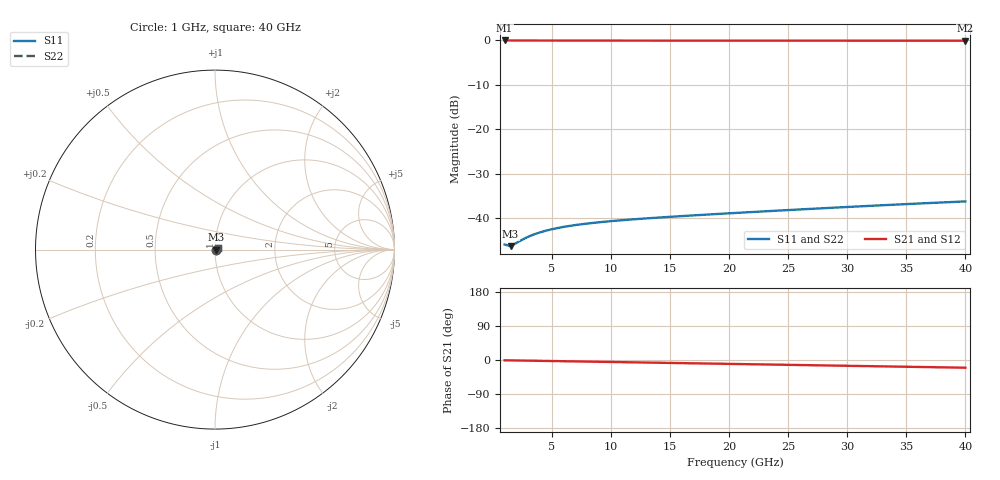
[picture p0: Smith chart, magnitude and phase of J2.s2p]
! Created with skrf 1.13.0 (http://scikit-rf.org).
# Hz S RI R 50.0
! Port[1] = p1
! Port[2] = p2
!freq ReS11 ImS11 ReS21 ImS21 ReS12 ImS12 ReS22 ImS22
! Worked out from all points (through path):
!   79 points, 1 GHz to 40 GHz, reference 50 ohm
!   highest |S21| = -0.05 dB at 1 GHz (marker M1); lowest = -0.1 dB at 40 GHz (marker M2)
!   group delay of S21, straight-line fit = 1.4 ps
!   lowest |S11| = -46.3 dB at 1.5 GHz (marker M3), VSWR 1.01, Z = 50.5 - j0.0429 ohm
!   |S11| at or under -10 dB: start of sweep to end of sweep
!   |S22| runs from -46.3 to -36.2 dB; largest |S21 - S12| = 7.7e-07
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1e9  0.00449 -0.00235  0.9947 -0.0144  0.9947 -0.0144  0.00449 -0.00235
1.5e9  0.00484 -0.000425  0.9943 -0.0177  0.9943 -0.0177  0.00484 -0.000425
2e9  0.00525 0.000587  0.9938 -0.0216  0.9938 -0.0216  0.00525 0.000587
2.5e9  0.00564 0.00123  0.9933 -0.0258  0.9933 -0.0258  0.00564 0.00123
3e9  0.00598 0.00167  0.9929 -0.03  0.9929 -0.03  0.00598 0.00167
3.5e9  0.00629 0.002  0.9924 -0.0342  0.9924 -0.0342  0.00629 0.002
4e9  0.00658 0.00225  0.992 -0.0385  0.992 -0.0385  0.00658 0.00225
4.5e9  0.00683 0.00245  0.9916 -0.0428  0.9916 -0.0428  0.00683 0.00245
5e9  0.00706 0.00262  0.9912 -0.0471  0.9912 -0.0471  0.00706 0.00262
5.5e9  0.00728 0.00276  0.9908 -0.0513  0.9908 -0.0513  0.00728 0.00276
6e9  0.00747 0.00288  0.9904 -0.0556  0.9904 -0.0556  0.00747 0.00288
6.5e9  0.00765 0.00299  0.99 -0.0599  0.99 -0.0599  0.00765 0.00299
7.5e9  0.00797 0.00317  0.9892 -0.0685  0.9892 -0.0685  0.00797 0.00317
8.5e9  0.00824 0.00332  0.9883 -0.0771  0.9883 -0.0771  0.00824 0.00332
1e10  0.00859 0.00353  0.9869 -0.09  0.9869 -0.09  0.00859 0.00353
1.2e10  0.009 0.00378  0.9849 -0.1073  0.9849 -0.1073  0.009 0.00378
1.4e10  0.00935 0.00403  0.9826 -0.1245  0.9826 -0.1245  0.00935 0.00403
1.7e10  0.00985 0.0044  0.9787 -0.1503  0.9787 -0.1503  0.00985 0.0044
2.05e10  0.0104 0.00482  0.9733 -0.1803  0.9733 -0.1803  0.0104 0.00482
2.7e10  0.0115 0.00553  0.9608 -0.2356  0.9608 -0.2356  0.0115 0.00553
3.35e10  0.0127 0.00609  0.9451 -0.2902  0.9451 -0.2902  0.0127 0.00609
4e10  0.0141 0.00646  0.9263 -0.3437  0.9263 -0.3437  0.0141 0.00646
